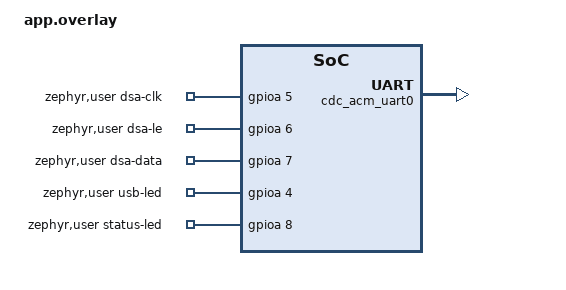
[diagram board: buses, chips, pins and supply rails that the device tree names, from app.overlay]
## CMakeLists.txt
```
# SPDX-License-Identifier: Apache-2.0

cmake_minimum_required(VERSION 3.20.0)

find_package(Zephyr REQUIRED HINTS $ENV{ZEPHYR_BASE})
project(rf_attenuator)

target_sources(app PRIVATE
    src/main.c
    src/proto.c
    src/dsa.c
)

target_include_directories(app PRIVATE
    src
)
```

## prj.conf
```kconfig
CONFIG_SERIAL=y
CONFIG_GPIO=y
CONFIG_MAIN_STACK_SIZE=2048

# USB CDC ACM is the protocol transport. The board dts already enables the
# SoC's USB device controller (zephyr_udc0) with the PA11/PA12 pinctrl this
# board uses; app.overlay adds the cdc_acm_uart0 node the class driver binds
# to. This brings the device up and enables it at boot, which is all this
# single-interface device needs.
CONFIG_USB_DEVICE_STACK_NEXT=y
CONFIG_USBD_CDC_ACM_CLASS=y
CONFIG_CDC_ACM_SERIAL_INITIALIZE_AT_BOOT=y

# Identify as a vendor device. The Zephyr sample VID must not ship.
CONFIG_CDC_ACM_SERIAL_VID=0x2FE3
CONFIG_CDC_ACM_SERIAL_PID=0x1050
CONFIG_CDC_ACM_SERIAL_MANUFACTURER_STRING="rf-atten"
CONFIG_CDC_ACM_SERIAL_PRODUCT_STRING="rf-atten"
CONFIG_CDC_ACM_SERIAL_SELF_POWERED=y

# No console on this link. Any printk from a subsystem, assert, or fault
# handler would interleave with protocol replies and desync the host client.
#
# CONFIG_UART_CONSOLE must be off explicitly: the board defconfig sets it, and
# the board's chosen zephyr,console node is &usart2, which app.overlay disables.
# Leaving the console on while its chosen node is disabled fails the build in
# uart_console.c with an undefined __device_dts_ord_*.
CONFIG_CONSOLE=n
CONFIG_UART_CONSOLE=n
CONFIG_BOOT_BANNER=n
CONFIG_LOG=n
CONFIG_PRINTK=n
CONFIG_SHELL=n
```

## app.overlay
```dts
#include <zephyr/dt-bindings/gpio/gpio.h>

/*
 * Pin map for the rf-attenuator board (STM32C071FBP6).
 *
 *   PA5  DSA_CLK
 *   PA6  DSA_LE
 *   PA7  DSA_DATA
 *   PA4  USB LED   (green)
 *   PA8  Status LED (amber)
 *   PA11 USB_DM
 *   PA12 USB_DP
 *   PA13 SWDIO
 *   PA14 SWCLK
 *
 * PA11/PA12 are already wired to the USB peripheral by the board's
 * zephyr_udc0 node, so no pinctrl is needed here.
 */

/ {
	zephyr,user {
		dsa-clk-gpios    = <&gpioa 5 GPIO_ACTIVE_HIGH>;
		dsa-le-gpios     = <&gpioa 6 GPIO_ACTIVE_HIGH>;
		dsa-data-gpios   = <&gpioa 7 GPIO_ACTIVE_HIGH>;
		usb-led-gpios    = <&gpioa 4 GPIO_ACTIVE_HIGH>;
		status-led-gpios = <&gpioa 8 GPIO_ACTIVE_HIGH>;
	};
};

/* The class instance. CONFIG_CDC_ACM_SERIAL_INITIALIZE_AT_BOOT registers the
 * first CDC ACM node, which must be this one. Its label must stay
 * cdc_acm_uart0 because main.c selects the device by compatible, and the
 * register function is hardcoded to class "cdc_acm_0". */
&zephyr_udc0 {
	cdc_acm_uart0: cdc_acm_uart0 {
		compatible = "zephyr,cdc-acm-uart";
		label = "Zephyr USB CDC-ACM";
	};
};

/* USB is the only transport, so there is no console. Dropping these saves
 * RAM on a part with only 24 KB. usart1/usart2 pins are not wired here. */
&usart1 {
	status = "disabled";
};

&usart2 {
	status = "disabled";
};

/* spi1's pinctrl claims PA5 (SCK), PA6 (MISO) and PA7 (MOSI), which are the
 * DSA pins. Enabling it would silently reconfigure the attenuator interface. */
&spi1 {
	status = "disabled";
};

&i2c1 {
	status = "disabled";
};

/* adc1 claims PA4 via adc1_in4_pa4, which is the USB LED. */
&adc1 {
	status = "disabled";
};

/* Board LED1 is on PA5, which is DSA_CLK. */
&leds {
	status = "disabled";
};

/* Timers1 feeds the board's PWM LED and is otherwise unused. The board's
 * pwmleds node has no label, so it can only be reached via this path, and
 * disabling timers1 removes the pwm1 child that would drive it. */
&timers1 {
	status = "disabled";
};

/* No independent watchdog: a hung USB link should not reset the attenuator
 * back to maximum attenuation mid-test. */
&iwdg {
	status = "disabled";
};

&rtc {
	status = "disabled";
};

/* Die temperature and internal reference are unused. */
&die_temp {
	status = "disabled";
};

&vref {
	status = "disabled";
};

&crc {
	status = "disabled";
};

&dma1 {
	status = "disabled";
};

&dmamux1 {
	status = "disabled";
};

/* Flash layout. The board reserves 0x0-0x8FFF for MCUboot and starts the
 * application at 0x9000. Nothing here runs MCUboot, so on reset the part
 * loads its vector table from 0x08000000, finds erased flash, and faults
 * before main() -- no USB, no debugger.
 *
 * Existing labeled partition nodes are referenced with '&', which overrides
 * their properties in place. Declaring a new 'partitions { ... }' block here
 * instead makes dtc merge it into the board's, producing duplicate labels.
 */
&boot_partition {
	status = "disabled";
};

&slot0_partition {
	reg = <0x00000000 DT_SIZE_K(120)>;
};

&slot1_partition {
	status = "disabled";
};

&storage_partition {
	status = "disabled";
};
```

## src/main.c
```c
#include <zephyr/kernel.h>
#include <zephyr/device.h>
#include <zephyr/drivers/uart.h>
#include <stdbool.h>
#include <stdint.h>
#include "proto.h"

/* Longest accepted input line is sizeof(line) - 1 characters plus the NUL.
 * The longest reply is "OK rf-atten fw 0.1.0" at 22 bytes. */
#define LINE_BUF_SIZE 48
#define OUT_BUF_SIZE 48

/* Bounds the length of a single command. Anything longer is rejected with
 * ERR too_long and discarded rather than executed. */
#define ATT_LINE_MAX (LINE_BUF_SIZE - 1)

static void send(const struct device *u, const char *s)
{
	for (; *s != '\0'; s++) {
		uart_poll_out(u, *s);
	}
	uart_poll_out(u, '\n');
}

int main(void)
{
	const struct device *uart = DEVICE_DTS_GET_ONE(zephyr_cdc_acm_uart);
	char line[LINE_BUF_SIZE];
	char out[OUT_BUF_SIZE];
	size_t len = 0;
	bool overflow = false;
	bool dsa_ok;
	int err;
	uint8_t c;

	err = dsa_init();
	dsa_ok = (err == 0);

	/* USB is already enabled by the CDC ACM stack at boot
	 * (CONFIG_CDC_ACM_SERIAL_INITIALIZE_AT_BOOT). */

	if (!device_is_ready(uart)) {
		/* Nothing to report on: the transport itself is gone. Spin so
		 * the fault handler does not write into a dead link. */
		while (1) {
			k_msleep(1000);
		}
	}

	/* Acknowledge init failure once the link is up, so a host connecting
	 * after boot still learns the attenuators are not under control. */
	if (!dsa_ok) {
		send(uart, "ERR hw");
	}

	while (1) {
		if (uart_poll_in(uart, &c) != 0) {
			/* No data. uart_poll_in also reports errors here (for
			 * example while the host has not opened the port yet),
			 * which is the same "retry" case. */
			k_msleep(1);
			continue;
		}

		if (c == '\n' || c == '\r') {
			if (overflow) {
				send(uart, "ERR too_long");
			} else if (len > 0) {
				line[len] = '\0';
				proto_handle_line(line, out, sizeof(out));
				send(uart, out);
			}
			len = 0;
			overflow = false;
			continue;
		}

		if (len < ATT_LINE_MAX) {
			line[len++] = (char)c;
		} else {
			/* Keep consuming until end of line so the tail of an
			 * over-long command cannot be read as a new command. */
			overflow = true;
		}
	}
}
```

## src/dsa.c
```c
#include <zephyr/kernel.h>
#include <zephyr/device.h>
#include <zephyr/drivers/gpio.h>
#include <zephyr/sys/util.h>
#include <errno.h>
#include "proto.h"

#define USER DT_PATH(zephyr_user)

/* SERIN, CLK and LE of the daisy-chained HMC1122 pair. */
static const struct gpio_dt_spec clk  = GPIO_DT_SPEC_GET(USER, dsa_clk_gpios);
static const struct gpio_dt_spec data = GPIO_DT_SPEC_GET(USER, dsa_data_gpios);
static const struct gpio_dt_spec le   = GPIO_DT_SPEC_GET(USER, dsa_le_gpios);

/* HMC1122: 6-bit, 0.5 dB LSB, 0..31.5 dB. Two cascaded parts give 0..63 dB,
 * so the programmable range is 0..126 half-dB. U1 is a fixed attenuator and
 * is not represented here. */
#define DSA_CHIP_MAX_HALF_DB 63

BUILD_ASSERT(ATT_MAX_HALF_DB == 2 * DSA_CHIP_MAX_HALF_DB,
	     "ATT_MAX_HALF_DB must be two cascaded HMC1122 ranges");

/* Boot state is maximum attenuation. Set explicitly rather than relying on the
 * initialiser so that a failed init leaves a known, safe cached value. */
static int cur_half_db = ATT_MAX_HALF_DB;

/* True once every pin is configured and the shift path has been exercised. */
static bool dsa_ready;

/* Shift one 6-bit code MSB first on the rising edge of CLK.
 *
 * SEROUT is delayed six clock cycles, so a two-chip daisy chain shifted as
 * shift6(u3); shift6(u2) leaves u3 in the first chip and u2 in the second.
 * LE must be low for the whole shift or the part masks CLK and ignores it. */
static void shift6(uint8_t v)
{
	for (int i = 5; i >= 0; i--) {
		gpio_pin_set_dt(&data, (v >> i) & 1U);
		/* Data setup time before the rising edge. */
		k_busy_wait(1);
		gpio_pin_set_dt(&clk, 1);
		k_busy_wait(1);
		gpio_pin_set_dt(&clk, 0);
	}
}

int dsa_set_half_db(int h)
{
	int u3;
	int u2;

	if (h < 0 || h > ATT_MAX_HALF_DB) {
		return -EINVAL;
	}
	if (!dsa_ready) {
		/* Pins are not configured. Shifting now would drive floating
		 * levels into the parts, so refuse rather than write garbage. */
		return -ENODEV;
	}

	/* Fill the first chip to its ceiling before spending the second's range,
	 * so the split stays monotonic and u2 never exceeds the chip range. */
	u3 = MIN(h, DSA_CHIP_MAX_HALF_DB);
	u2 = h - u3;

	gpio_pin_set_dt(&le, 0);
	shift6((uint8_t)u3);
	shift6((uint8_t)u2);
	/* Latch is active high and must be toggled, not held. */
	gpio_pin_set_dt(&le, 1);
	k_busy_wait(1);
	gpio_pin_set_dt(&le, 0);

	/* RF settling time is 250 ns per the datasheet. */
	k_busy_wait(1);

	cur_half_db = h;
	return 0;
}

int dsa_get_half_db(void)
{
	return cur_half_db;
}

int dsa_init(void)
{
	int err;

	if (!gpio_is_ready_dt(&clk) || !gpio_is_ready_dt(&data) || !gpio_is_ready_dt(&le)) {
		return -ENODEV;
	}

	/* All three idle low. CLK low and LE low is the only state in which the
	 * HMC1122 will accept shifted data, so boot must not pulse LE. */
	err = gpio_pin_configure_dt(&clk, GPIO_OUTPUT_INACTIVE);
	if (err) {
		return err;
	}
	err = gpio_pin_configure_dt(&data, GPIO_OUTPUT_INACTIVE);
	if (err) {
		return err;
	}
	err = gpio_pin_configure_dt(&le, GPIO_OUTPUT_INACTIVE);
	if (err) {
		return err;
	}

	/* Pins are good, so the shift path is safe to use. */
	dsa_ready = true;

	/* Safe state at boot: maximum attenuation. On failure clear dsa_ready so
	 * the caller reports the error rather than a cached value that the
	 * hardware never received. */
	err = dsa_set_half_db(ATT_MAX_HALF_DB);
	if (err) {
		dsa_ready = false;
		cur_half_db = ATT_MAX_HALF_DB;
		return err;
	}

	return 0;
}

bool dsa_is_ready(void)
{
	return dsa_ready;
}
```

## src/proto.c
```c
#include <stdarg.h>
#include <stdio.h>
#include <string.h>
#include "proto.h"

#define FW_VERSION "0.1.0"

/* Accepts "N", "N.0" or "N.5". Returns 0 on success, or a negative code:
 * -1 syntax, -2 range, -3 step. */
static int parse_half_db(const char *s, int *out)
{
	int whole = 0;
	int digits = 0;
	int half;

	if (*s == '-') {
		/* A sign is not a valid attenuation, so this is malformed input
		 * rather than a value outside the range. */
		return -1;
	}

	while (*s >= '0' && *s <= '9') {
		if (++digits > 3) {
			/* Too many digits to ever be in range. */
			return -2;
		}
		whole = whole * 10 + (*s++ - '0');
	}

	if (digits == 0) {
		return -1;
	}

	half = whole * 2;

	if (*s == '.') {
		s++;
		if (*s == '5') {
			half += 1;
		} else if (*s == '0') {
			/* No change. */
		} else if (*s >= '1' && *s <= '9') {
			/* Hardware has no finer than 0.5 dB resolution. */
			return -3;
		} else {
			return -1;
		}
		s++;
	}

	if (*s != '\0') {
		return -1;
	}

	if (half > ATT_MAX_HALF_DB) {
		return -2;
	}

	*out = half;
	return 0;
}

static void reply(char *out, size_t n, const char *fmt, ...)
	__attribute__((format(printf, 3, 4)));

static void reply(char *out, size_t n, const char *fmt, ...)
{
	va_list ap;

	va_start(ap, fmt);
	vsnprintf(out, n, fmt, ap);
	va_end(ap);
}

void proto_handle_line(char *line, char *out, size_t n)
{
	size_t len = strlen(line);

	/* Strip trailing padding. The host writes "\n" but a tty in raw mode or
	 * a CRLF-terminating client both arrive here. */
	while (len > 0 && (line[len - 1] == ' ' || line[len - 1] == '\t' ||
			   line[len - 1] == '\r')) {
		line[--len] = '\0';
	}

	/* Strip leading padding so "  ATT 20" and "ATT 20" behave the same. */
	while (*line == ' ' || *line == '\t') {
		line++;
	}

	if (strcmp(line, "*IDN?") == 0) {
		reply(out, n, "OK rf-atten fw " FW_VERSION);
		return;
	}

	if (strcmp(line, "ATT?") == 0) {
		int h;

		if (!dsa_is_ready()) {
			/* Do not report a cached value the hardware never got.
			 * An RF path believed to be attenuated but is not is the
			 * dangerous direction to fail. */
			reply(out, n, "ERR hw");
			return;
		}

		h = dsa_get_half_db();
		reply(out, n, "OK %d.%d", h / 2, (h % 2) * 5);
		return;
	}

	/* "ATT" with no argument is malformed, not an unknown command. */
	if (strcmp(line, "ATT") == 0) {
		reply(out, n, "ERR syntax");
		return;
	}

	if (strncmp(line, "ATT ", 4) == 0) {
		int h;
		int rc = parse_half_db(line + 4, &h);

		if (rc == 0) {
			rc = dsa_set_half_db(h) ? -4 : 0;
		}

		switch (rc) {
		case 0:
			reply(out, n, "OK");
			break;
		case -1:
			reply(out, n, "ERR syntax");
			break;
		case -2:
			reply(out, n, "ERR range");
			break;
		case -3:
			reply(out, n, "ERR step");
			break;
		default:
			reply(out, n, "ERR hw");
			break;
		}
		return;
	}

	reply(out, n, "ERR unknown_cmd");
}
```

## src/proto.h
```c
#pragma once
#include <stdbool.h>
#include <stddef.h>

/* Two cascaded HMC1122 attenuators: 0..31.5 dB each in 0.5 dB steps.
 * All internal values are in half-dB, so 0..63 dB is 0..126. */
#define ATT_MAX_HALF_DB 126

int dsa_set_half_db(int half_db);
int dsa_get_half_db(void);
int dsa_init(void);

/* False if dsa_init() failed. dsa_get_half_db() is still safe to call and
 * returns ATT_MAX_HALF_DB, but the hardware did not receive that value. */
bool dsa_is_ready(void);

/* Consumes and mutates line (trailing whitespace is stripped). Writes a
 * NUL-terminated reply into out, truncated to out_len. */
void proto_handle_line(char *line, char *out, size_t out_len);
```
